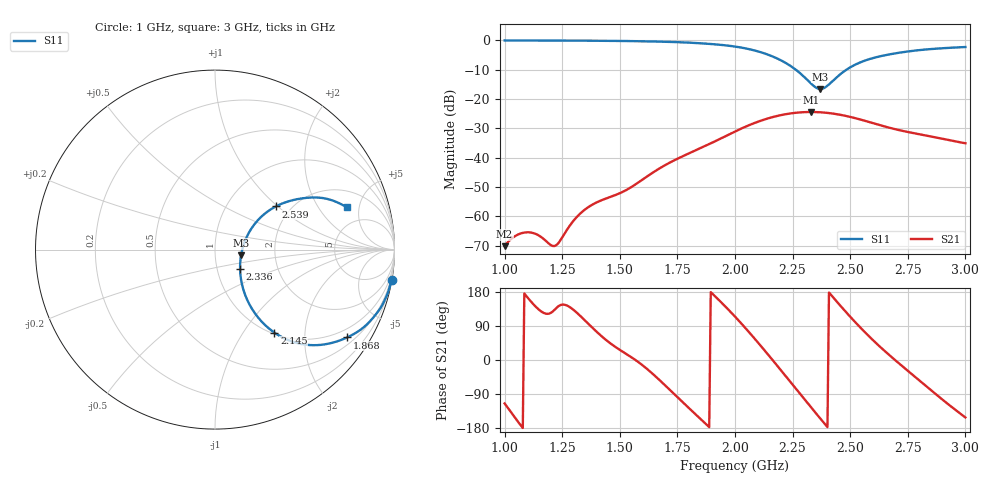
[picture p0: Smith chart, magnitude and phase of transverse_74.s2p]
! TOUCHSTONE file generated by CST MICROWAVE STUDIO
! Date and time: Tue Mar 11 13:56:30 2025
! Project name: transverse.cst
! Parameters = {Fracture=5; B=10; D=160; F=5; Feed=2.85625; L=100; M=10; R=0.384908; S=1; Theta=90; length=57.125; wave=114.25}
! Header version: 2024
! Port assignment regex: !\s*Touchstone port\s*([0-9]+)\s*=\s*(CST MWS port|CST DES external port|CST DES block port)\s*(.+)\s* \(\"(.*)\"\)(\s*mode\s*([0-9]+))?.*
! Touchstone port assignment:
! Touchstone port 1 = CST MWS port 1 ("")
! Touchstone port 2 = CST MWS port 2 ("")
# GHz S MA R 50
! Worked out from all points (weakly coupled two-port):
!   305 points, 1 GHz to 3 GHz, reference 50 ohm
!   highest |S21| = -24.41 dB at 2.329 GHz (marker M1); lowest = -70.2 dB at 1 GHz (marker M2)
!   lowest |S11| = -16.6 dB at 2.368 GHz (marker M3), VSWR 1.35, Z = 66.8 - j4.3 ohm
!   |S11| at or under -10 dB: 2.264 GHz to 2.484 GHz (219.6 MHz wide, 9.25 % of centre)
!   S12 and S22 are empty: the file has one direction only
!   S11 on the Smith chart (normalised r, x): 1 GHz: 0, -12; 1.868 GHz: 0.71, -3.16; 2.145 GHz: 1.02, -1.40; 2.336 GHz: 1.29, -0.28; 2.539 GHz: 1.67, +0.97; 3 GHz: 3.21, +3.74
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1  0.9979 -9.7  0.0003099 -114.6  0 0.0  0 0.0
1.04605  0.9972 -10.4  0.0004619 -153.0  0 0.0  0 0.0
1.09868  0.9962 -11.1  0.0005346 165.6  0 0.0  0 0.0
1.14474  0.9955 -11.8  0.0004807 135.1  0 0.0  0 0.0
1.21711  0.9945 -13.0  0.0003123 132.7  0 0.0  0 0.0
1.23684  0.994 -13.3  0.0003642 143.2  0 0.0  0 0.0
1.33553  0.9899 -15.2  0.001185 112.2  0 0.0  0 0.0
1.39474  0.9869 -16.5  0.001693 77.2  0 0.0  0 0.0
1.53289  0.9755 -20.0  0.002879 14.1  0 0.0  0 0.0
1.67105  0.9537 -24.4  0.006521 -52.2  0 0.0  0 0.0
1.86842  0.8836 -33.7  0.01567 -165.8  0 0.0  0 0.0
2  0.7853 -42.6  0.02798 114.6  0 0.0  0 0.0
2.14474  0.5685 -54.4  0.04698 13.4  0 0.0  0 0.0
2.24342  0.3616 -57.9  0.05702 -60.0  0 0.0  0 0.0
2.32895  0.1856 -40.9  0.06017 -124.0  0 0.0  0 0.0
2.33553  0.1756 -37.3  0.06016 -128.9  0 0.0  0 0.0
2.36842  0.1485 -12.2  0.05955 -153.1  0 0.0  0 0.0
2.39474  0.1613 9.4  0.05843 -172.3  0 0.0  0 0.0
2.46053  0.2717 33.5  0.05357 141.0  0 0.0  0 0.0
2.53947  0.4152 35.4  0.0453 88.5  0 0.0  0 0.0
2.67105  0.5786 29.8  0.03234 12.3  0 0.0  0 0.0
3  0.7713 17.8  0.01763 -151.6  0 0.0  0 0.0
